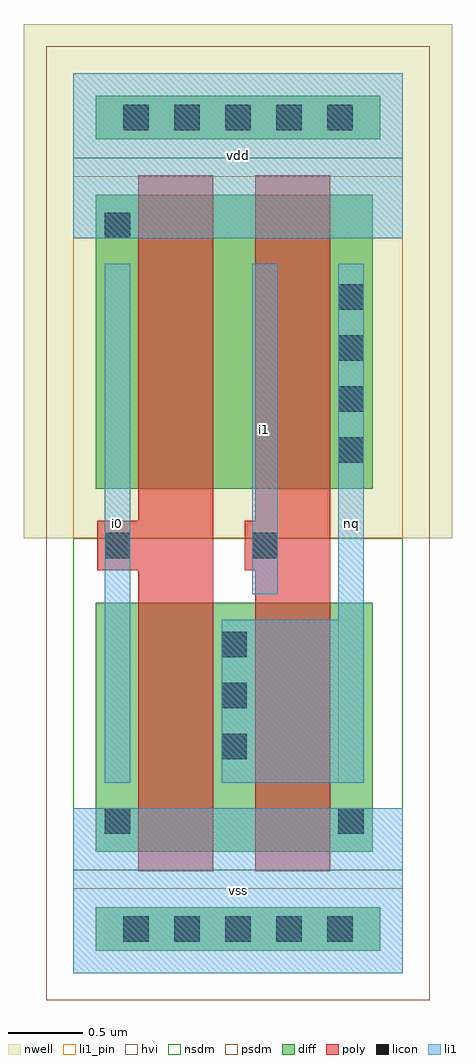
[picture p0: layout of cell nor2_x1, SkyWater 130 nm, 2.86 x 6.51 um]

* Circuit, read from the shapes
.subckt nor2_x1 i0 i1 nq vdd vss
XM1 nq i0 vss VSUBS sky130_fd_pr__nfet_g5v0d10v5 w=1.66 l=0.5
XM2 vss i1 nq VSUBS sky130_fd_pr__nfet_g5v0d10v5 w=1.66 l=0.5
XM3 n1 i0 vdd n2 sky130_fd_pr__pfet_g5v0d10v5 w=1.96 l=0.5
XM4 nq i1 n1 n2 sky130_fd_pr__pfet_g5v0d10v5 w=1.96 l=0.5
.ends

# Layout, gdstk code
import gdstk
lib = gdstk.Library(unit=1e-6, precision=1e-09)
def R(c, l, rs):  # rectangles x0, y0, x1, y1
    for r in rs: c.add(gdstk.rectangle(r[:2], r[2:], *l))
def A(c, l, x, y, w, h, nx, ny, dx, dy):  # array of equal rectangles
    R(c, l, [(x+i*dx, y+j*dy, x+i*dx+w, y+j*dy+h) for i in range(nx) for j in range(ny)])
def P(c, l, *ps):  # polygons
    for p in ps: c.add(gdstk.Polygon(p, *l))
nwell = (64, 20)
diff = (65, 20)
poly = (66, 20)
licon = (66, 44)
li1_pin = (67, 16)
li1 = (67, 20)
hvi = (75, 20)
nsdm = (93, 44)
psdm = (94, 20)

nor2_x1 = lib.new_cell('nor2_x1')
R(nor2_x1, nwell, [(-0.33,2.9,2.53,6.33)])
R(nor2_x1, diff, [(0.15,0.15,2.05,0.44), (0.15,0.81,2,2.47), (0.15,3.23,2,5.19), (0.15,5.56,2.05,5.85)])
P(nor2_x1, poly, [(0.435,0.68),(0.435,2.685),(0.16,2.685),(0.16,3.015),(0.435,3.015),(0.435,5.32),(0.935,5.32),(0.935,0.68)],
  [(1.215,0.68),(1.215,2.685),(1.145,2.685),(1.145,3.015),(1.215,3.015),(1.215,5.32),(1.715,5.32),(1.715,0.68)])
A(nor2_x1, licon, 0.335, 0.21, 0.17, 0.17, 5, 2, 0.34, 5.41)
A(nor2_x1, licon, 0.99, 1.425, 0.17, 0.17, 1, 3, 0, 0.34)
A(nor2_x1, licon, 1.77, 3.405, 0.17, 0.17, 1, 4, 0, 0.34)
R(nor2_x1, licon, [(0.21,0.93,0.38,1.1), (1.77,0.93,1.94,1.1), (0.21,2.765,0.38,2.935), (1.195,2.765,1.365,2.935), (0.21,4.9,0.38,5.07)])
R(nor2_x1, li1_pin, [(0,0,2.2,1.1), (0.21,1.27,0.38,4.73), (1.77,1.27,1.94,4.73), (1.195,2.525,1.365,4.73), (0,4.9,2.2,6)])
R(nor2_x1, li1, [(0,0,2.2,1.1), (0.21,1.27,0.38,4.73), (1.195,2.525,1.365,4.73), (0,4.9,2.2,6)])
P(nor2_x1, li1, [(0.99,1.27),(0.99,2.355),(1.77,2.355),(1.77,4.73),(1.94,4.73),(1.94,1.27)])
R(nor2_x1, hvi, [(-0.18,-0.18,2.38,6.18)])
R(nor2_x1, nsdm, [(0,0.685,2.2,2.9), (0,5.435,2.2,6)])
R(nor2_x1, psdm, [(0,0,2.2,0.565), (0,2.9,2.2,5.315)])
nor2_x1.add(gdstk.Label('vss', (1.1,0.55), layer=67, texttype=16))
nor2_x1.add(gdstk.Label('vdd', (1.1,5.45), layer=67, texttype=16))
nor2_x1.add(gdstk.Label('nq', (1.855,3), layer=67, texttype=16))
nor2_x1.add(gdstk.Label('i0', (0.295,3), layer=67, texttype=16))
nor2_x1.add(gdstk.Label('i1', (1.28,3.628), layer=67, texttype=16))

lib.write_gds('nor2_x1.gds')
